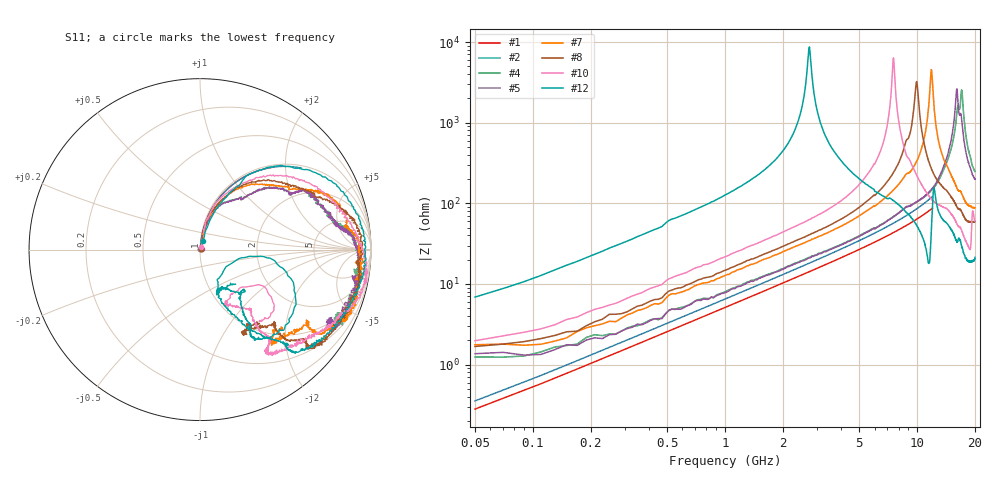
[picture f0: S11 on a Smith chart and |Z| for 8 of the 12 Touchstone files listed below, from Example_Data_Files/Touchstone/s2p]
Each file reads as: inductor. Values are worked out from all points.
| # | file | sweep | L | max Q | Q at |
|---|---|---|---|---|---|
| 1 | L-03C0N8_SER.s2p | 50 MHz to 12 GHz | 810 pH | 40.8 | 10.33 GHz |
| 2 | L-03C1N0_SER.s2p | 50 MHz to 12 GHz | 1.03 nH | 38.4 | 9.252 GHz |
| 3 | L-03C1N2_SER.s2p | 50 MHz to 12 GHz | 1.15 nH | 35.6 | 8.116 GHz |
| 4 | L-05B1N0_SER.s2p | 50 MHz to 19.99 GHz | 1.34 nH | 17.2 | 3.29 GHz |
| 5 | L-05B1N2_SER.s2p | 50 MHz to 19.99 GHz | 1.31 nH | 16.3 | 3.35 GHz |
| 6 | L-05B1N5_SER.s2p | 50 MHz to 19.99 GHz | 1.62 nH | 18.6 | 3.27 GHz |
| 7 | L-05B1N8_SER.s2p | 50 MHz to 19.99 GHz | 2.03 nH | 21 | 1.69 GHz |
| 8 | L-05B2N2_SER.s2p | 50 MHz to 19.99 GHz | 2.3 nH | 26 | 1.61 GHz |
| 9 | L-05B2N7_SER.s2p | 50 MHz to 19.99 GHz | 2.67 nH | 27.4 | 1.63 GHz |
| 10 | L-05B3N3_SER.s2p | 50 MHz to 19.99 GHz | 3.4 nH | 39 | 1.47 GHz |
| 11 | L-05B3N9_SER.s2p | 50 MHz to 19.99 GHz | 4.04 nH | 40.1 | 1.41 GHz |
| 12 | L-05B18N_SER.s2p | 50 MHz to 19.99 GHz | 17.6 nH | - | - |
